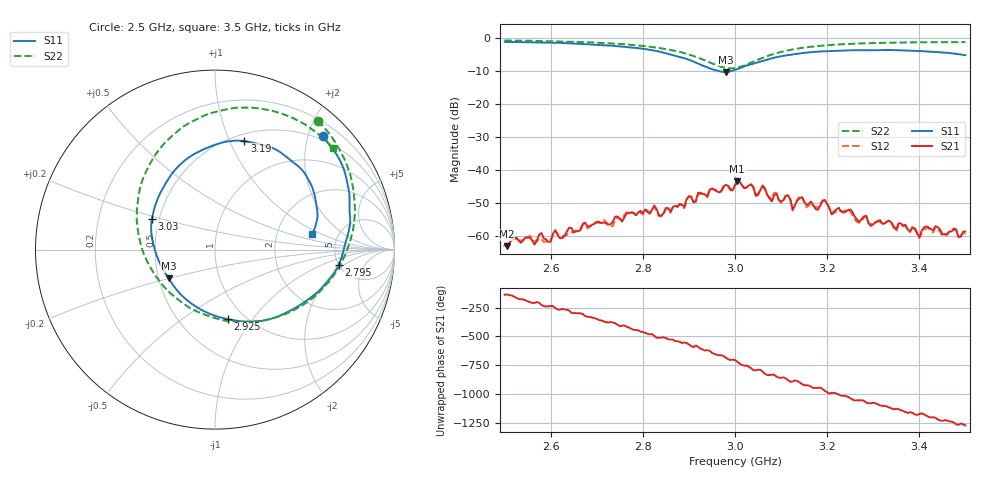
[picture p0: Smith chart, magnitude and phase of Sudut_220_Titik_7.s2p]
# Hz S RI R 50
! CMT, C1220, 16058040, 17.2.0/1
! Date: 15/08/2018 10:09:56
! Data: Format (Calibration Info)
! Freq  S11: Re/Im (F2)  S21: Re/Im (F2)  S12: Re/Im (F2)  S22: Re/Im (F2)
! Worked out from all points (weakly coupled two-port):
!   201 points, 2.5 GHz to 3.5 GHz, reference 50 ohm
!   highest |S21| = -43.48 dB at 3.005 GHz (marker M1); lowest = -63.1 dB at 2.505 GHz (marker M2)
!   lowest |S11| = -10.3 dB at 2.98 GHz (marker M3), VSWR 1.88, Z = 28.2 - j9.92 ohm
!   |S11| at or under -10 dB: 2.964 GHz to 2.992 GHz (28.24 MHz wide, 0.948 % of centre)
!   |S22| runs from -9.2 to -0.7 dB; largest |S21 - S12| = 0.00044
!   S11 on the Smith chart (normalised r, x): 2.5 GHz: 0.42, +2.25; 2.795 GHz: 5.00, -1.61; 2.925 GHz: 0.83, -0.77; 3.03 GHz: 0.46, +0.18; 3.19 GHz: 0.57, +1.14; 3.5 GHz: 3.22, +0.78
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2.5e9  0.5996 0.6356  -0.000518 -0.000493  -0.000589 -0.000512  0.5729 0.7169
2.505e9  0.6059 0.6281  -0.000499 -0.000491  -0.000531 -0.000486  0.5786 0.7114
2.67e9  0.7477 0.3161  0.000901 0.00124  0.000941 0.00117  0.7453 0.4425
2.795e9  0.6894 -0.0835  -0.000321 -0.00238  -0.000335 -0.00226  0.7616 0.0786
2.835e9  0.5809 -0.2284  -0.0018 -0.00101  -0.00172 -0.00102  0.7028 -0.0752
2.925e9  0.0725 -0.3885  -0.00193 0.00407  -0.00203 0.00383  0.2948 -0.3894
2.98e9  -0.259 -0.1598  0.00481 0.00353  0.00461 0.00359  -0.1425 -0.3232
3e9  -0.3278 -0.0244  0.00569 0.00156  0.00581 0.00128  -0.2793 -0.2119
3.005e9  -0.3382 0.0091  0.0067 0.000148  0.00644 -4.88e-05  -0.3086 -0.1773
3.03e9  -0.3517 0.1717  0.00426 -0.00401  0.00428 -0.004  -0.4096 0.013
3.06e9  -0.2888 0.3445  0.000493 -0.00578  0.000202 -0.00554  -0.4317 0.2515
3.08e9  -0.2277 0.4379  -0.00123 -0.0031  -0.00133 -0.00342  -0.4019 0.3928
3.115e9  -0.0987 0.5416  -0.00382 -0.00151  -0.00385 -0.00134  -0.2924 0.58
3.125e9  -0.0596 0.5606  -0.00248 -0.000382  -0.00242 -0.000305  -0.253 0.6206
3.14e9  -0.00217 0.5836  -0.00374 -0.000106  -0.00399 -7.38e-05  -0.1949 0.6711
3.17e9  0.1 0.6061  -0.00192 0.00217  -0.00204 0.00202  -0.0761 0.7397
3.19e9  0.1634 0.605  -0.00189 0.0028  -0.0018 0.00295  -0.00193 0.7661
3.27e9  0.3725 0.5365  0.00148 0.000675  0.00141 0.00072  0.2547 0.7854
3.335e9  0.4905 0.4377  0.00135 -0.00103  0.00131 -0.00112  0.4082 0.7438
3.4e9  0.5525 0.3137  -6.33e-05 -0.000965  -0.000105 -0.000915  0.5261 0.6802
3.415e9  0.5595 0.2783  -0.000413 -0.00133  -0.000395 -0.00125  0.55 0.6639
3.5e9  0.5418 0.0847  -0.00114 0.000261  -0.00101 0.000335  0.6574 0.5638
